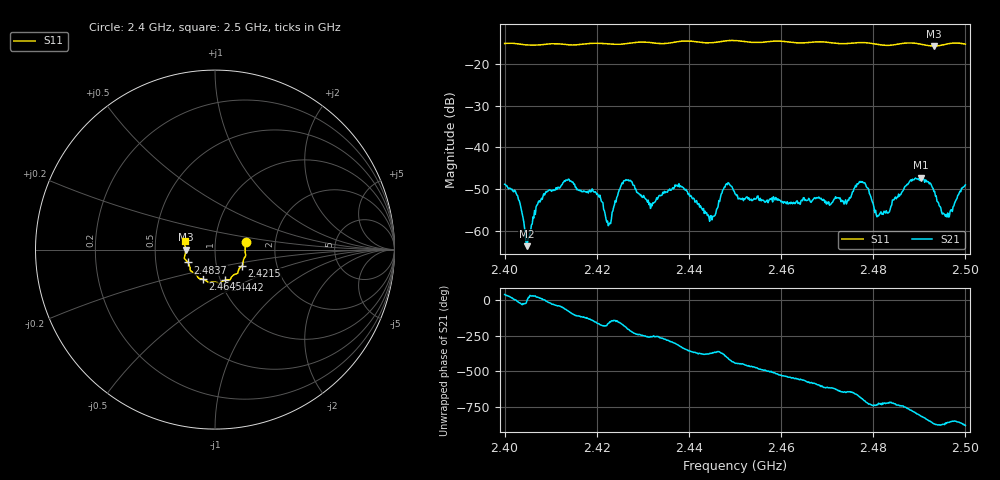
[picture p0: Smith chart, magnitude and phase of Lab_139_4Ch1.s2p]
# Hz S RI R 50
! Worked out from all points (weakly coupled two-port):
!   601 points, 2.4 GHz to 2.5 GHz, reference 50 ohm
!   highest |S21| = -47.33 dB at 2.4903 GHz (marker M1); lowest = -63.7 dB at 2.4048 GHz (marker M2)
!   lowest |S11| = -15.7 dB at 2.4932 GHz (marker M3), VSWR 1.39, Z = 35.9 - j0.0495 ohm
!   |S11| at or under -10 dB: start of sweep to end of sweep
!   S12 and S22 are empty: the file has one direction only
!   S11 on the Smith chart (normalised r, x): 2.4 GHz: 1.41, +0.12; 2.4215 GHz: 1.33, -0.25; 2.4442 GHz: 1.05, -0.37; 2.4645 GHz: 0.83, -0.29; 2.4837 GHz: 0.73, -0.11; 2.5 GHz: 0.71, +0.07
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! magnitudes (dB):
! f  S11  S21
! 2.4 GHz  -15.1  -48.9
! 2.4028 GHz  -15.2  -51.6
! 2.4048 GHz  -15.5  -63.7
! 2.409 GHz  -15.3  -50.6
! 2.4167 GHz  -15.3  -50.7
! 2.4215 GHz  -15.1  -55.0
! 2.4227 GHz  -15.2  -58.5
! 2.4263 GHz  -15.2  -47.8
! 2.4333 GHz  -15.1  -52.1
! 2.4383 GHz  -14.6  -49.5
! 2.4442 GHz  -15.0  -56.2
! 2.45 GHz  -14.4  -51.2
! 2.4645 GHz  -15.0  -52.7
! 2.4667 GHz  -14.8  -52.9
! 2.4775 GHz  -14.9  -48.4
! 2.4808 GHz  -15.3  -56.7
! 2.4833 GHz  -15.6  -55.7
! 2.4837 GHz  -15.5  -54.9
! 2.4903 GHz  -15.3  -47.3
! 2.4932 GHz  -15.7  -50.7
! 2.496 GHz  -15.2  -56.7
! 2.5 GHz  -15.3  -49.0
